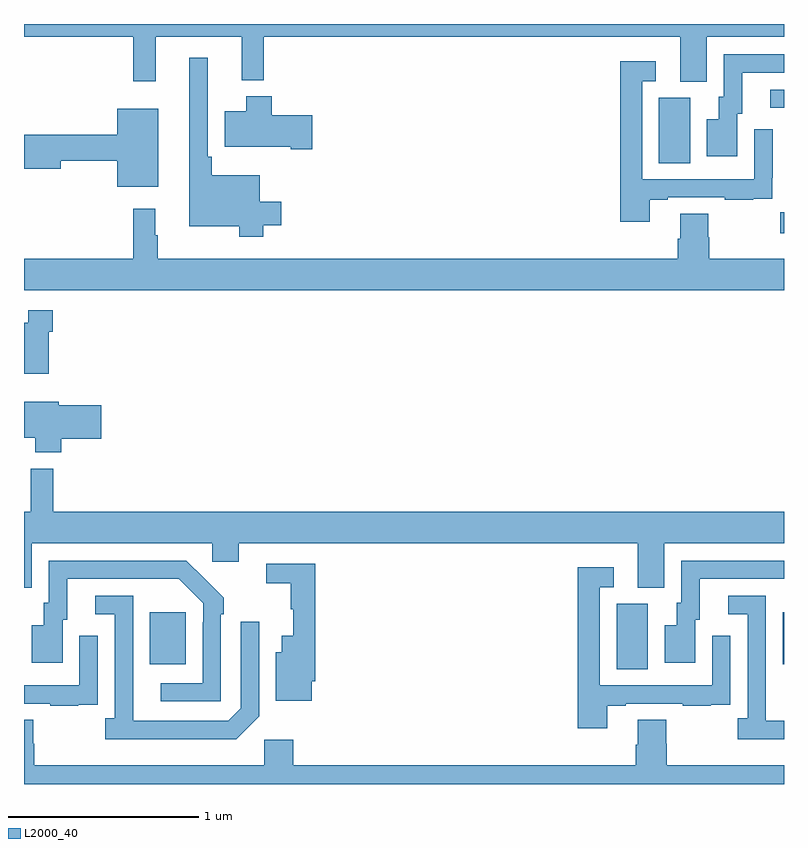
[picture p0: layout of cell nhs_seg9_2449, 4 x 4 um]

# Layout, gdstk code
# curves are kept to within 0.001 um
import gdstk
lib = gdstk.Library(unit=1e-6, precision=1e-09)
def R(c, l, rs):  # rectangles x0, y0, x1, y1
    for r in rs: c.add(gdstk.rectangle(r[:2], r[2:], *l))
def P(c, l, *ps):  # polygons
    for p in ps: c.add(gdstk.Polygon(p, *l))
L2000_40 = (2000, 40)

nhs_seg9_2449 = lib.new_cell('nhs_seg9_2449')
R(nhs_seg9_2449, L2000_40, [(254.12,1181.104,254.284,1181.448), (251.663,1181.129,251.851,1181.404), (254.993,1181.129,255,1181.404), (254.979,1183.4,255,1183.51), (254.342,1183.768,254.506,1184.112), (254.928,1184.058,255,1184.154)])
P(nhs_seg9_2449, L2000_40, [(254.593,1184.432),(255,1184.432),(255,1184.5),(251,1184.5),(251,1184.432),(251.575,1184.432),(251.575,1184.199),(251.693,1184.199),(251.693,1184.432),(252.146,1184.432),(252.146,1184.204),(252.263,1184.204),(252.263,1184.432),(254.453,1184.432),(254.453,1184.197),(254.593,1184.197)],
  [(254.755,1184.028),(254.779,1184.028),(254.779,1184.244),(255,1184.244),(255,1184.34),(254.682,1184.34),(254.682,1184.118),(254.657,1184.118),(254.657,1183.999),(254.594,1183.999),(254.594,1183.803),(254.755,1183.803)],
  [(252.26,1183.442),(252.355,1183.442),(252.355,1183.564),(252.241,1183.564),(252.241,1183.705),(251.987,1183.705),(251.987,1183.801),(251.967,1183.801),(251.967,1184.323),(251.87,1184.323),(251.87,1183.436),(252.132,1183.436),(252.132,1183.379),(252.26,1183.379)],
  [(254.293,1183.575),(254.389,1183.575),(254.389,1183.587),(254.689,1183.587),(254.689,1183.575),(254.837,1183.575),(254.837,1183.581),(254.939,1183.581),(254.939,1183.69),(254.94,1183.69),(254.94,1183.945),(254.844,1183.945),(254.844,1183.683),(254.253,1183.683),(254.253,1184.199),(254.326,1184.199),(254.326,1184.305),(254.137,1184.305),(254.137,1183.458),(254.293,1183.458)],
  [(252.517,1184.019),(252.305,1184.019),(252.305,1184.119),(252.17,1184.119),(252.17,1184.041),(252.056,1184.041),(252.056,1183.853),(252.404,1183.853),(252.404,1183.841),(252.517,1183.841)],
  [(251.707,1184.053),(251.492,1184.053),(251.492,1183.916),(251,1183.916),(251,1183.738),(251.194,1183.738),(251.194,1183.78),(251.492,1183.78),(251.492,1183.643),(251.707,1183.643)],
  [(255,1183.264),(254.606,1183.264),(254.606,1183.377),(254.601,1183.377),(254.601,1183.502),(254.453,1183.502),(254.453,1183.37),(254.441,1183.37),(254.441,1183.264),(251.704,1183.264),(251.704,1183.388),(251.692,1183.388),(251.692,1183.528),(251.575,1183.528),(251.575,1183.264),(251,1183.264),(251,1183.1),(255,1183.1)],
  [(251.13,1182.881),(251.15,1182.881),(251.15,1182.994),(251.022,1182.994),(251.022,1182.928),(251,1182.928),(251,1182.659),(251.13,1182.659)],
  [(251.195,1182.316),(251.407,1182.316),(251.407,1182.494),(251.182,1182.494),(251.182,1182.511),(251,1182.511),(251,1182.323),(251.06,1182.323),(251.06,1182.245),(251.195,1182.245)],
  [(251.041,1181.768),(251.991,1181.768),(251.991,1181.67),(252.13,1181.67),(252.13,1181.768),(254.231,1181.768),(254.231,1181.533),(254.371,1181.533),(254.371,1181.768),(255,1181.768),(255,1181.932),(251.153,1181.932),(251.153,1182.16),(251.036,1182.16),(251.036,1181.932),(251,1181.932),(251,1181.533),(251.041,1181.533)],
  [(252.036,1181.393),(252.051,1181.393),(252.051,1181.481),(251.854,1181.676),(251.13,1181.676),(251.13,1181.454),(251.105,1181.454),(251.105,1181.335),(251.042,1181.335),(251.042,1181.139),(251.203,1181.139),(251.203,1181.364),(251.227,1181.364),(251.227,1181.58),(251.815,1181.58),(251.943,1181.451),(251.943,1181.351),(251.94,1181.351),(251.94,1181.031),(251.721,1181.031),(251.721,1180.935),(252.036,1180.935)],
  [(254.533,1181.364),(254.557,1181.364),(254.557,1181.58),(255,1181.58),(255,1181.676),(254.46,1181.676),(254.46,1181.454),(254.435,1181.454),(254.435,1181.335),(254.372,1181.335),(254.372,1181.139),(254.533,1181.139)],
  [(252.514,1181.041),(252.533,1181.041),(252.533,1181.658),(252.276,1181.658),(252.276,1181.557),(252.405,1181.557),(252.405,1181.421),(252.416,1181.421),(252.416,1181.281),(252.356,1181.281),(252.356,1181.194),(252.326,1181.194),(252.326,1180.937),(252.514,1180.937)],
  [(254.071,1180.911),(254.167,1180.911),(254.167,1180.923),(254.467,1180.923),(254.467,1180.911),(254.615,1180.911),(254.615,1180.917),(254.717,1180.917),(254.717,1181.026),(254.718,1181.026),(254.718,1181.281),(254.622,1181.281),(254.622,1181.019),(254.031,1181.019),(254.031,1181.535),(254.104,1181.535),(254.104,1181.641),(253.915,1181.641),(253.915,1180.794),(254.071,1180.794)],
  [(252.237,1180.857),(252.237,1181.353),(252.141,1181.353),(252.141,1180.899),(252.075,1180.833),(251.575,1180.833),(251.574,1181.49),(251.376,1181.49),(251.376,1181.394),(251.478,1181.394),(251.478,1180.846),(251.427,1180.846),(251.427,1180.736),(252.116,1180.736)],
  [(255,1180.833),(254.905,1180.833),(254.905,1181.033),(254.904,1181.033),(254.904,1181.49),(254.706,1181.49),(254.706,1181.394),(254.808,1181.394),(254.808,1180.846),(254.757,1180.846),(254.757,1180.736),(255,1180.736)],
  [(251.285,1180.917),(251.387,1180.917),(251.387,1181.026),(251.388,1181.026),(251.388,1181.281),(251.292,1181.281),(251.292,1181.019),(251,1181.019),(251,1180.923),(251.137,1180.923),(251.137,1180.911),(251.285,1180.911)],
  [(255,1180.6),(254.384,1180.6),(254.384,1180.713),(254.379,1180.713),(254.379,1180.838),(254.231,1180.838),(254.231,1180.706),(254.219,1180.706),(254.219,1180.6),(252.416,1180.6),(252.416,1180.732),(252.264,1180.732),(252.264,1180.6),(251.054,1180.6),(251.054,1180.713),(251.049,1180.713),(251.049,1180.838),(251,1180.838),(251,1180.5),(255,1180.5)])

lib.write_gds('nhs_seg9_2449.gds')
